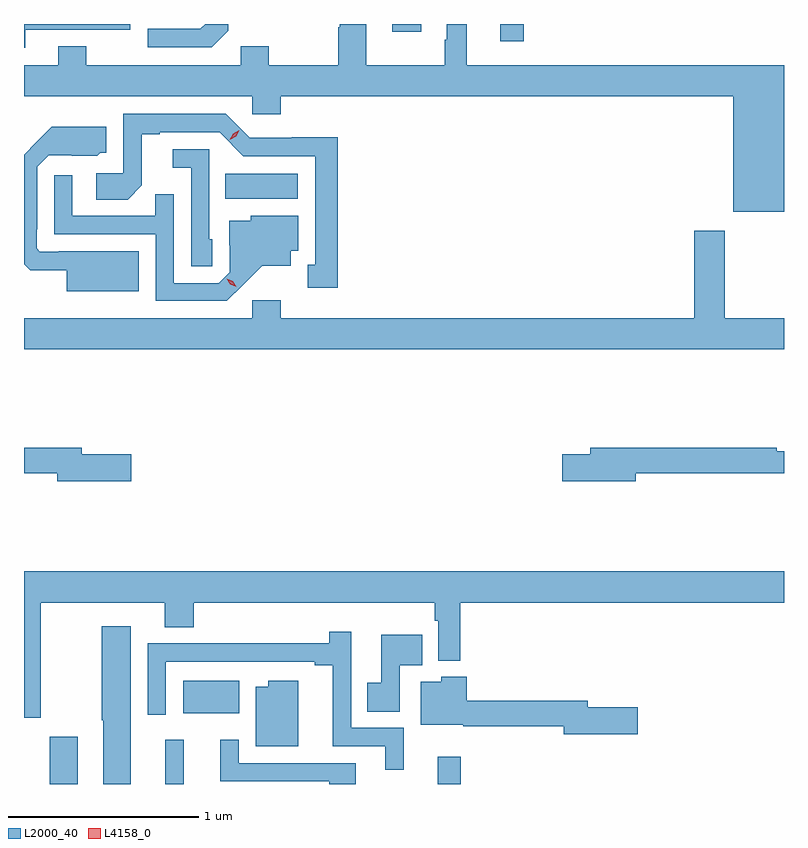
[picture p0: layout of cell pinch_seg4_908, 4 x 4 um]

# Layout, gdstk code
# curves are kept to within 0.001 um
import gdstk
lib = gdstk.Library(unit=1e-6, precision=1e-09)
def R(c, l, rs):  # rectangles x0, y0, x1, y1
    for r in rs: c.add(gdstk.rectangle(r[:2], r[2:], *l))
def P(c, l, *ps):  # polygons
    for p in ps: c.add(gdstk.Polygon(p, *l))
L2000_40 = (2000, 40)
L4158_0 = (4158, 0)

pinch_seg4_908 = lib.new_cell('pinch_seg4_908')
R(pinch_seg4_908, L2000_40, [(724.522,823.837,724.669,824.086), (725.129,823.837,725.228,824.071), (726.563,823.837,726.685,823.981), (725.225,824.21,725.518,824.38), (725.446,826.916,725.827,827.05), (726.893,827.745,727.015,827.837), (726.323,827.796,726.478,827.837)])
P(pinch_seg4_908, L2000_40, [(724.393,827.808),(724.944,827.808),(724.944,827.837),(724.386,827.837),(724.386,827.712),(724.393,827.712)],
  [(725.46,827.802),(725.46,827.837),(725.339,827.837),(725.313,827.811),(725.037,827.811),(725.037,827.715),(725.373,827.715)],
  [(728.386,827.62),(726.715,827.62),(726.715,827.837),(726.611,827.837),(726.611,827.753),(726.601,827.753),(726.601,827.62),(726.187,827.62),(726.187,827.837),(726.047,827.837),(726.047,827.819),(726.04,827.819),(726.04,827.62),(725.673,827.62),(725.673,827.719),(725.526,827.719),(725.526,827.62),(724.713,827.62),(724.713,827.719),(724.565,827.719),(724.565,827.62),(724.386,827.62),(724.386,827.456),(725.586,827.456),(725.586,827.363),(725.738,827.363),(725.738,827.456),(728.12,827.456),(728.12,826.85),(728.386,826.85)],
  [(726.037,827.24),(725.796,827.24),(725.796,827.238),(725.574,827.238),(725.448,827.364),(724.908,827.364),(724.908,827.052),(724.767,827.052),(724.767,826.912),(724.931,826.912),(725.007,826.988),(725.007,827.256),(725.101,827.256),(725.101,827.268),(725.415,827.268),(725.541,827.142),(725.918,827.142),(725.918,826.569),(725.879,826.569),(725.879,826.449),(726.037,826.449)],
  [(724.99,826.642),(724.57,826.642),(724.57,826.638),(724.47,826.638),(724.452,826.656),(724.452,826.756),(724.455,826.756),(724.455,827.085),(724.515,827.145),(724.772,827.144),(724.788,827.16),(724.819,827.16),(724.819,827.296),(724.531,827.296),(724.386,827.149),(724.386,826.573),(724.418,826.541),(724.61,826.541),(724.61,826.43),(724.99,826.43)],
  [(725.376,826.704),(725.361,826.704),(725.361,827.178),(725.169,827.178),(725.169,827.081),(725.265,827.081),(725.265,826.561),(725.376,826.561)],
  [(725.536,826.463),(725.639,826.565),(725.791,826.565),(725.791,826.644),(725.83,826.644),(725.83,826.828),(725.58,826.828),(725.58,826.801),(725.465,826.801),(725.465,826.672),(725.469,826.672),(725.469,826.53),(725.412,826.473),(725.175,826.473),(725.175,826.94),(725.077,826.94),(725.077,826.827),(724.641,826.827),(724.641,827.041),(724.545,827.041),(724.545,826.731),(725.079,826.731),(725.079,826.38),(725.452,826.38)],
  [(728.386,826.288),(728.073,826.288),(728.073,826.75),(727.913,826.75),(727.913,826.288),(725.738,826.288),(725.738,826.384),(725.586,826.384),(725.586,826.288),(724.386,826.288),(724.386,826.124),(728.386,826.124)],
  [(727.606,825.472),(728.386,825.472),(728.386,825.589),(728.348,825.589),(728.348,825.608),(727.367,825.608),(727.367,825.572),(727.218,825.572),(727.218,825.43),(727.606,825.43)],
  [(724.951,825.572),(724.69,825.572),(724.69,825.608),(724.386,825.608),(724.386,825.472),(724.562,825.472),(724.562,825.43),(724.951,825.43)],
  [(724.474,824.792),(725.126,824.792),(725.126,824.662),(725.279,824.662),(725.279,824.792),(726.547,824.792),(726.547,824.696),(726.567,824.696),(726.567,824.486),(726.683,824.486),(726.683,824.792),(728.386,824.792),(728.386,824.956),(724.386,824.956),(724.386,824.186),(724.474,824.186)],
  [(724.948,824.668),(724.795,824.668),(724.795,824.173),(724.802,824.173),(724.802,823.837),(724.948,823.837)],
  [(726.385,824.133),(726.108,824.133),(726.108,824.638),(725.992,824.638),(725.992,824.579),(725.362,824.579),(725.362,824.577),(725.037,824.577),(725.037,824.202),(725.133,824.202),(725.133,824.481),(725.915,824.481),(725.915,824.461),(726.011,824.461),(726.011,824.037),(726.287,824.037),(726.287,823.913),(726.385,823.913)],
  [(726.363,824.462),(726.482,824.462),(726.482,824.623),(726.266,824.623),(726.266,824.37),(726.193,824.37),(726.193,824.218),(726.363,824.218)],
  [(727.615,824.24),(727.354,824.24),(727.354,824.276),(726.716,824.276),(726.716,824.401),(726.582,824.401),(726.582,824.374),(726.473,824.374),(726.473,824.15),(726.699,824.15),(726.699,824.14),(727.226,824.14),(727.226,824.098),(727.615,824.098)],
  [(725.83,824.38),(725.672,824.38),(725.672,824.35),(725.606,824.35),(725.606,824.036),(725.83,824.036)],
  [(726.133,823.947),(725.517,823.947),(725.517,824.071),(725.42,824.071),(725.42,823.851),(725.993,823.851),(725.993,823.837),(726.133,823.837)])
P(pinch_seg4_908, L4158_0, [(725.47,827.227),(725.47,827.227),(725.487,827.26),(725.518,827.279),(725.519,827.279),(725.519,827.279),(725.502,827.246),(725.47,827.227)],
  [(725.502,826.454),(725.471,826.468),(725.453,826.497),(725.453,826.497),(725.454,826.497),(725.484,826.483),(725.502,826.454),(725.502,826.454)])

lib.write_gds('pinch_seg4_908.gds')
